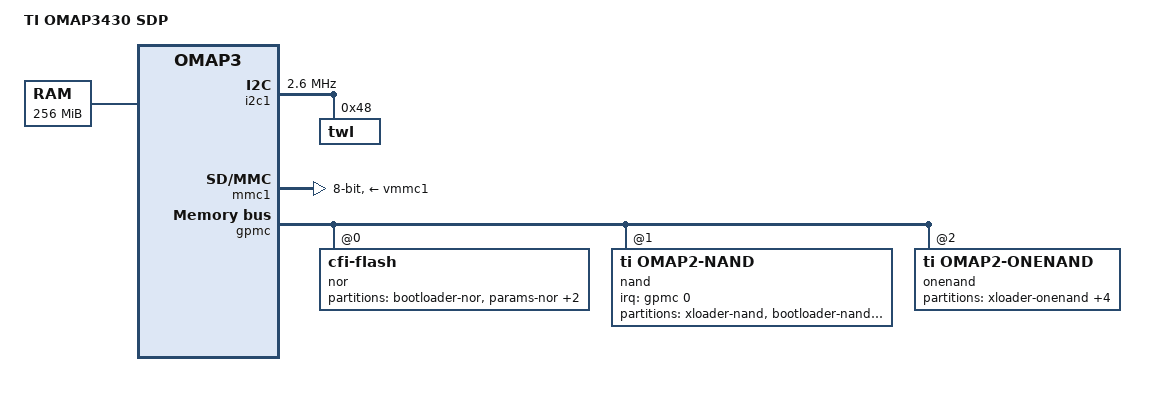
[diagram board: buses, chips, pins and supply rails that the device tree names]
// SPDX-License-Identifier: GPL-2.0-only
/*
 * Copyright (C) 2013 Texas Instruments Incorporated - https://www.ti.com/
 */
/dts-v1/;

#include "omap34xx.dtsi"

/ {
	model = "TI OMAP3430 SDP";
	compatible = "ti,omap3430-sdp", "ti,omap3430", "ti,omap3";

	memory@80000000 {
		device_type = "memory";
		reg = <0x80000000 0x10000000>; /* 256 MB */
	};
};

&i2c1 {
	clock-frequency = <2600000>;

	twl: twl@48 {
		reg = <0x48>;
		interrupts = <7>; /* SYS_NIRQ cascaded to intc */
	};
};

#include "twl4030.dtsi"
#include "twl4030_omap3.dtsi"

&mmc1 {
	vmmc-supply = <&vmmc1>;
	vqmmc-supply = <&vsim>;
	/*
	 * S6-3 must be in ON position for 8 bit mode to function
	 * Else, use 4 bit mode
	 */
	bus-width = <8>;
};

&mmc2 {
	status = "disabled";
};

&mmc3 {
	status = "disabled";
};

&gpmc {
	ranges = <0 0 0x10000000 0x08000000>,
		 <1 0 0x28000000 0x1000000>,	/* CS1: 16MB for NAND */
		 <2 0 0x20000000 0x1000000>;	/* CS2: 16MB for OneNAND */

	nor@0,0 {
		compatible = "cfi-flash";
		linux,mtd-name = "intel,pf48f6000m0y1be";
		#address-cells = <1>;
		#size-cells = <1>;
		reg = <0 0 0x08000000>;
		bank-width = <2>;

		gpmc,mux-add-data = <2>;
		gpmc,cs-on-ns = <0>;
		gpmc,cs-rd-off-ns = <186>;
		gpmc,cs-wr-off-ns = <186>;
		gpmc,adv-on-ns = <12>;
		gpmc,adv-rd-off-ns = <48>;
		gpmc,adv-wr-off-ns = <48>;
		gpmc,oe-on-ns = <54>;
		gpmc,oe-off-ns = <168>;
		gpmc,we-on-ns = <54>;
		gpmc,we-off-ns = <168>;
		gpmc,rd-cycle-ns = <186>;
		gpmc,wr-cycle-ns = <186>;
		gpmc,access-ns = <114>;
		gpmc,page-burst-access-ns = <6>;
		gpmc,bus-turnaround-ns = <12>;
		gpmc,cycle2cycle-delay-ns = <18>;
		gpmc,wr-data-mux-bus-ns = <90>;
		gpmc,wr-access-ns = <186>;
		gpmc,cycle2cycle-samecsen;
		gpmc,cycle2cycle-diffcsen;

		partition@0 {
			label = "bootloader-nor";
			reg = <0 0x40000>;
		};
		partition@40000 {
			label = "params-nor";
			reg = <0x40000 0x40000>;
		};
		partition@80000 {
			label = "kernel-nor";
			reg = <0x80000 0x200000>;
		};
		partition@280000 {
			label = "filesystem-nor";
			reg = <0x240000 0x7d80000>;
		};
	};

	nand@1,0 {
		compatible = "ti,omap2-nand";
		reg = <1 0 4>; /* CS1, offset 0, IO size 4 */
		interrupt-parent = <&gpmc>;
		interrupts = <0 IRQ_TYPE_NONE>, /* fifoevent */
			     <1 IRQ_TYPE_NONE>;	/* termcount */
		linux,mtd-name = "micron,mt29f1g08abb";
		#address-cells = <1>;
		#size-cells = <1>;
		ti,nand-ecc-opt = "sw";
		nand-bus-width = <8>;
		gpmc,cs-on-ns = <0>;
		gpmc,cs-rd-off-ns = <36>;
		gpmc,cs-wr-off-ns = <36>;
		gpmc,adv-on-ns = <6>;
		gpmc,adv-rd-off-ns = <24>;
		gpmc,adv-wr-off-ns = <36>;
		gpmc,oe-on-ns = <6>;
		gpmc,oe-off-ns = <48>;
		gpmc,we-on-ns = <6>;
		gpmc,we-off-ns = <30>;
		gpmc,rd-cycle-ns = <72>;
		gpmc,wr-cycle-ns = <72>;
		gpmc,access-ns = <54>;
		gpmc,wr-access-ns = <30>;

		partition@0 {
			label = "xloader-nand";
			reg = <0 0x80000>;
		};
		partition@80000 {
			label = "bootloader-nand";
			reg = <0x80000 0x140000>;
		};
		partition@1c0000 {
			label = "params-nand";
			reg = <0x1c0000 0xc0000>;
		};
		partition@280000 {
			label = "kernel-nand";
			reg = <0x280000 0x500000>;
		};
		partition@780000 {
			label = "filesystem-nand";
			reg = <0x780000 0x7880000>;
		};
	};

	onenand@2,0 {
		linux,mtd-name = "samsung,kfm2g16q2m-deb8";
		#address-cells = <1>;
		#size-cells = <1>;
		compatible = "ti,omap2-onenand";
		reg = <2 0 0x20000>;	/* CS2, offset 0, IO size 4 */

		gpmc,device-width = <2>;
		gpmc,mux-add-data = <2>;
		gpmc,cs-on-ns = <0>;
		gpmc,cs-rd-off-ns = <84>;
		gpmc,cs-wr-off-ns = <72>;
		gpmc,adv-on-ns = <0>;
		gpmc,adv-rd-off-ns = <18>;
		gpmc,adv-wr-off-ns = <18>;
		gpmc,oe-on-ns = <30>;
		gpmc,oe-off-ns = <84>;
		gpmc,we-on-ns = <0>;
		gpmc,we-off-ns = <42>;
		gpmc,rd-cycle-ns = <108>;
		gpmc,wr-cycle-ns = <96>;
		gpmc,access-ns = <78>;
		gpmc,wr-data-mux-bus-ns = <30>;

		partition@0 {
			label = "xloader-onenand";
			reg = <0 0x80000>;
		};
		partition@80000 {
			label = "bootloader-onenand";
			reg = <0x80000 0x40000>;
		};
		partition@c0000 {
			label = "params-onenand";
			reg = <0xc0000 0x20000>;
		};
		partition@e0000 {
			label = "kernel-onenand";
			reg = <0xe0000 0x200000>;
		};
		partition@2e0000 {
			label = "filesystem-onenand";
			reg = <0x2e0000 0xfd20000>;
		};
	};
};
